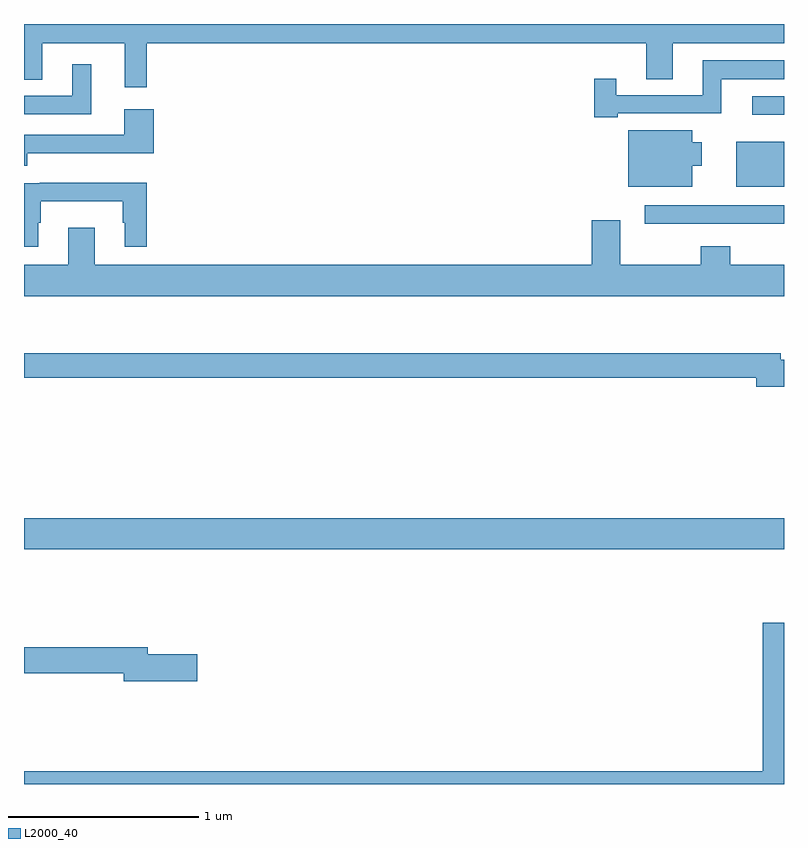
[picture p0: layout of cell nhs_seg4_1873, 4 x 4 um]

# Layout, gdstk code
import gdstk
lib = gdstk.Library(unit=1e-6, precision=1e-09)
def R(c, l, rs):  # rectangles x0, y0, x1, y1
    for r in rs: c.add(gdstk.rectangle(r[:2], r[2:], *l))
def P(c, l, *ps):  # polygons
    for p in ps: c.add(gdstk.Polygon(p, *l))
L2000_40 = (2000, 40)

nhs_seg4_1873 = lib.new_cell('nhs_seg4_1873')
R(nhs_seg4_1873, L2000_40, [(207,814.136,211,814.3), (210.749,816.044,211,816.28), (210.834,816.422,211,816.519)])
P(nhs_seg4_1873, L2000_40, [(207.647,816.8),(210.275,816.8),(210.275,816.61),(210.415,816.61),(210.415,816.8),(211,816.8),(211,816.9),(207,816.9),(207,816.607),(207.097,816.607),(207.097,816.8),(207.53,816.8),(207.53,816.567),(207.647,816.567)],
  [(210.124,816.429),(210.67,816.429),(210.67,816.608),(211,816.608),(211,816.709),(210.572,816.709),(210.572,816.525),(210.118,816.525),(210.118,816.613),(210.001,816.613),(210.001,816.409),(210.124,816.409)],
  [(207.353,816.688),(207.254,816.688),(207.254,816.522),(207,816.522),(207,816.426),(207.353,816.426)],
  [(207.016,816.221),(207.683,816.221),(207.683,816.451),(207.527,816.451),(207.527,816.318),(207,816.318),(207,816.155),(207.016,816.155)],
  [(210.517,816.155),(210.568,816.155),(210.568,816.277),(210.517,816.277),(210.517,816.34),(210.179,816.34),(210.179,816.044),(210.517,816.044)],
  [(207.076,815.855),(207.088,815.855),(207.088,815.966),(207.519,815.966),(207.519,815.855),(207.53,815.855),(207.53,815.727),(207.647,815.727),(207.647,816.064),(207.082,816.064),(207.082,816.063),(207,816.063),(207,815.727),(207.076,815.727)],
  [(211,815.946),(210.267,815.946),(210.267,815.85),(210.805,815.85),(210.805,815.849),(211,815.849)],
  [(211,815.632),(210.717,815.632),(210.717,815.731),(210.562,815.731),(210.562,815.632),(210.139,815.632),(210.139,815.866),(209.987,815.866),(209.987,815.632),(207.373,815.632),(207.373,815.827),(207.233,815.827),(207.233,815.632),(207,815.632),(207,815.468),(211,815.468)],
  [(211,815.133),(210.982,815.133),(210.982,815.167),(207,815.167),(207,815.038),(210.854,815.038),(210.854,814.991),(211,814.991)],
  [(211,813.748),(210.887,813.748),(210.887,812.968),(207,812.968),(207,812.9),(211,812.9)],
  [(207.913,813.584),(207.652,813.584),(207.652,813.62),(207,813.62),(207,813.484),(207.524,813.484),(207.524,813.442),(207.913,813.442)])

lib.write_gds('nhs_seg4_1873.gds')
